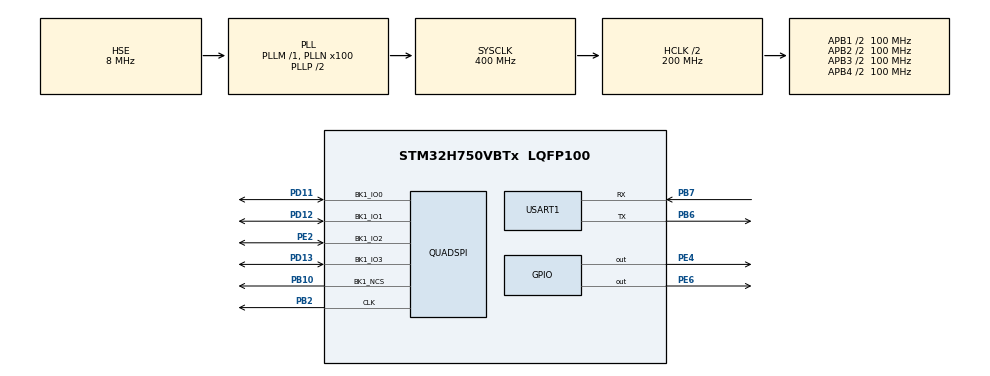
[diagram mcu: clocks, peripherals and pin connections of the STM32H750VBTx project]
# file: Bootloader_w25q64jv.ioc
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Mcu.Family=STM32H7
Mcu.Name=STM32H750VBTx
Mcu.Package=LQFP100
NVIC.PriorityGroup=NVIC_PRIORITYGROUP_4
PA13\ (JTMS/SWDIO).Mode=Serial_Wire
PA13\ (JTMS/SWDIO).Signal=DEBUG_JTMS-SWDIO
PA14\ (JTCK/SWCLK).Mode=Serial_Wire
PA14\ (JTCK/SWCLK).Signal=DEBUG_JTCK-SWCLK
PB10.GPIO_PuPd=GPIO_PULLUP
PB10.GPIO_Speed=GPIO_SPEED_FREQ_VERY_HIGH
PB10.Mode=Single Bank 1
PB10.Signal=QUADSPI_BK1_NCS
PB2.GPIO_PuPd=GPIO_PULLUP
PB2.GPIO_Speed=GPIO_SPEED_FREQ_VERY_HIGH
PB2.Mode=Single Bank 1
PB2.Signal=QUADSPI_CLK
PB6.Mode=Asynchronous
PB6.Signal=USART1_TX
PB7.Mode=Asynchronous
PB7.Signal=USART1_RX
PD11.GPIO_PuPd=GPIO_PULLUP
PD11.GPIO_Speed=GPIO_SPEED_FREQ_VERY_HIGH
PD11.Mode=Single Bank 1
PD11.Signal=QUADSPI_BK1_IO0
PD12.GPIO_PuPd=GPIO_PULLUP
PD12.GPIO_Speed=GPIO_SPEED_FREQ_VERY_HIGH
PD12.Mode=Single Bank 1
PD12.Signal=QUADSPI_BK1_IO1
PD13.GPIO_PuPd=GPIO_PULLUP
PD13.GPIO_Speed=GPIO_SPEED_FREQ_VERY_HIGH
PD13.Mode=Single Bank 1
PD13.Signal=QUADSPI_BK1_IO3
PE2.GPIO_PuPd=GPIO_PULLUP
PE2.GPIO_Speed=GPIO_SPEED_FREQ_VERY_HIGH
PE2.Mode=Single Bank 1
PE2.Signal=QUADSPI_BK1_IO2
PE4.Signal=GPIO_Output
PE6.Signal=GPIO_Output
PH0-OSC_IN\ (PH0).Mode=HSE-External-Oscillator
PH0-OSC_IN\ (PH0).Signal=RCC_OSC_IN
PH1-OSC_OUT\ (PH1).Mode=HSE-External-Oscillator
PH1-OSC_OUT\ (PH1).Signal=RCC_OSC_OUT
ProjectManager.HeapSize=0x200
ProjectManager.StackSize=0x400
ProjectManager.TargetToolchain=STM32CubeIDE
QUADSPI.ChipSelectHighTime=QSPI_CS_HIGH_TIME_5_CYCLE
QUADSPI.ClockMode=QSPI_CLOCK_MODE_3
QUADSPI.ClockPrescaler=1
QUADSPI.FifoThreshold=4
QUADSPI.FlashSize=22
QUADSPI.SampleShifting=QSPI_SAMPLE_SHIFTING_HALFCYCLE
RCC.ADCFreq_Value=16125000
RCC.APB1Freq_Value=100000000
RCC.APB2Freq_Value=100000000
RCC.APB3Freq_Value=100000000
RCC.APB4Freq_Value=100000000
RCC.CortexFreq_Value=400000000
RCC.D1PPRE=RCC_APB3_DIV2
RCC.D2PPRE1=RCC_APB1_DIV2
RCC.D2PPRE2=RCC_APB2_DIV2
RCC.D3PPRE=RCC_APB4_DIV2
RCC.DIVM1=1
RCC.DIVN1=100
RCC.DIVN3=100
RCC.HCLKFreq_Value=200000000
RCC.HPRE=RCC_HCLK_DIV2
RCC.HSE_VALUE=8000000
RCC.PLL2FRACN=0
RCC.PLL3FRACN=0
RCC.PLLFRACN=0
RCC.PLLSourceVirtual=RCC_PLLSOURCE_HSE
RCC.SYSCLKFreq_VALUE=400000000
RCC.SYSCLKSource=RCC_SYSCLKSOURCE_PLLCLK
RCC.USBFreq_Value=400000000
USART1.VirtualMode-Asynchronous=VM_ASYNC
board=custom

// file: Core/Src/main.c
/* USER CODE BEGIN Header */
/**
  ******************************************************************************
  * @file           : main.c
  * @brief          : Main program body
  ******************************************************************************
  * @attention
  *
  * Copyright (c) 2022 STMicroelectronics.
  * All rights reserved.
  *
  * This software is licensed under terms that can be found in the LICENSE file
  * in the root directory of this software component.
  * If no LICENSE file comes with this software, it is provided AS-IS.
  *
  ******************************************************************************
  */
/* USER CODE END Header */
#include "main.h"
#include "quadspi.h"
#include "usart.h"
#include "gpio.h"

/* USER CODE BEGIN Includes */
#include "stdio.h"
#include <string.h>
#include "w25q64jv.h"
#include "Loader_Src.h"
#include "Dev_Inf.h"
/* USER CODE END Includes */

void SystemClock_Config(void);

int main(void)
{
  /* USER CODE BEGIN 1 */
#if 1
	Init(0);
//	Read (0x90000000, 256, buff);
#else
  /* USER CODE END 1 */

  /* MCU Configuration--------------------------------------------------------*/

  /* Reset of all peripherals, Initializes the Flash interface and the Systick. */
  HAL_Init();

  /* Configure the system clock */
  SystemClock_Config();

  /* Initialize all configured peripherals */
  MX_GPIO_Init();
  MX_QUADSPI_Init();
  MX_USART1_UART_Init();
  /* USER CODE BEGIN 2 */
  uint8_t w25q64jv_device_id[2];
  uint8_t w25q64jv_id_number[12];

  QSPI_W25Q64JV_Reset();
  QSPI_W25Q64JV_DeviceID(w25q64jv_device_id);
  printf("Manufacturer / Device ID: 0x%x 0x%x \r\n", w25q64jv_device_id[0], w25q64jv_device_id[1]);
  QSPI_W25Q64JV_IDNumber(w25q64jv_id_number);
  printf("Unique ID Number: ");
  for (int i = 4; i < 12; i++)
  {
      printf("0x%02x ", w25q64jv_id_number[i]);
  }
  printf(" \r\n");
#endif
#define LOADER_OK	0x1
#define LOADER_FAIL	0x0

  uint8_t buffer_test[MEMORY_SECTOR_SIZE];
  uint8_t buffer_verify[MEMORY_SECTOR_SIZE];
  uint32_t var;
  /* 生成测试数据 */
  for (var = 0; var < MEMORY_SECTOR_SIZE; var++) {
  	buffer_test[var] = (var & 0xff);
  }
  /* 擦除块 */
  if (SectorErase(0, MEMORY_FLASH_SIZE-1) != LOADER_OK) {
	while (1); //breakpoint - error detected
  }
  /* 验证数据 */
  for (var = 0; var < MEMORY_FLASH_SIZE / MEMORY_SECTOR_SIZE; var++) {
	QSPI_W25Q64JV_Read(buffer_verify, 0, MEMORY_SECTOR_SIZE);
	for(uint16_t i=0;i<MEMORY_SECTOR_SIZE;i++){
	  if (buffer_verify[i] != 0xff) {
		while (1);  //breakpoint - error detected - otherwise QSPI works properly
	  }
    }
  }
  /* 写入扇区 */
  for(var=0; var<MEMORY_FLASH_SIZE/MEMORY_SECTOR_SIZE; var++) {
	if (Write(0x90000000+var*MEMORY_SECTOR_SIZE, MEMORY_SECTOR_SIZE,buffer_test) != LOADER_OK) {
	  while (1); //breakpoint - error detected
	}
  }
  /* 验证数据 */
  for (var = 0; var < MEMORY_FLASH_SIZE / MEMORY_SECTOR_SIZE; var++) {
	Read(0x90000000+var*MEMORY_SECTOR_SIZE,MEMORY_SECTOR_SIZE,buffer_verify);
	if (memcmp(buffer_test, buffer_verify, MEMORY_SECTOR_SIZE) != HAL_OK) {
	  while (1);  //breakpoint - error detected - otherwise QSPI works properly
	}
  }

  printf("QFlash is OK.\r\n");

  /* USER CODE END 2 */

  /* Infinite loop */
  /* USER CODE BEGIN WHILE */
  while (1)
  {
	HAL_Delay(1000);
    /* USER CODE END WHILE */

  }
}

void SystemClock_Config(void)
{
  RCC_OscInitTypeDef RCC_OscInitStruct = {0};
  RCC_ClkInitTypeDef RCC_ClkInitStruct = {0};

  /** Supply configuration update enable
  */
  HAL_PWREx_ConfigSupply(PWR_LDO_SUPPLY);

  /** Configure the main internal regulator output voltage
  */
  __HAL_PWR_VOLTAGESCALING_CONFIG(PWR_REGULATOR_VOLTAGE_SCALE1);

  while(!__HAL_PWR_GET_FLAG(PWR_FLAG_VOSRDY)) {}

  /** Initializes the RCC Oscillators according to the specified parameters
  * in the RCC_OscInitTypeDef structure.
  */
  RCC_OscInitStruct.OscillatorType = RCC_OSCILLATORTYPE_HSE;
  RCC_OscInitStruct.HSEState = RCC_HSE_ON;
  RCC_OscInitStruct.PLL.PLLState = RCC_PLL_ON;
  RCC_OscInitStruct.PLL.PLLSource = RCC_PLLSOURCE_HSE;
  RCC_OscInitStruct.PLL.PLLM = 1;
  RCC_OscInitStruct.PLL.PLLN = 100;
  RCC_OscInitStruct.PLL.PLLP = 2;
  RCC_OscInitStruct.PLL.PLLQ = 2;
  RCC_OscInitStruct.PLL.PLLR = 2;
  RCC_OscInitStruct.PLL.PLLRGE = RCC_PLL1VCIRANGE_3;
  RCC_OscInitStruct.PLL.PLLVCOSEL = RCC_PLL1VCOWIDE;
  RCC_OscInitStruct.PLL.PLLFRACN = 0;
  if (HAL_RCC_OscConfig(&RCC_OscInitStruct) != HAL_OK)
  {
    Error_Handler();
  }

  /** Initializes the CPU, AHB and APB buses clocks
  */
  RCC_ClkInitStruct.ClockType = RCC_CLOCKTYPE_HCLK|RCC_CLOCKTYPE_SYSCLK
                              |RCC_CLOCKTYPE_PCLK1|RCC_CLOCKTYPE_PCLK2
                              |RCC_CLOCKTYPE_D3PCLK1|RCC_CLOCKTYPE_D1PCLK1;
  RCC_ClkInitStruct.SYSCLKSource = RCC_SYSCLKSOURCE_PLLCLK;
  RCC_ClkInitStruct.SYSCLKDivider = RCC_SYSCLK_DIV1;
  RCC_ClkInitStruct.AHBCLKDivider = RCC_HCLK_DIV2;
  RCC_ClkInitStruct.APB3CLKDivider = RCC_APB3_DIV2;
  RCC_ClkInitStruct.APB1CLKDivider = RCC_APB1_DIV2;
  RCC_ClkInitStruct.APB2CLKDivider = RCC_APB2_DIV2;
  RCC_ClkInitStruct.APB4CLKDivider = RCC_APB4_DIV2;

  if (HAL_RCC_ClockConfig(&RCC_ClkInitStruct, FLASH_LATENCY_2) != HAL_OK)
  {
    Error_Handler();
  }
}

void Error_Handler(void)
{
  __disable_irq();
  while (1)
  {
  }
}
